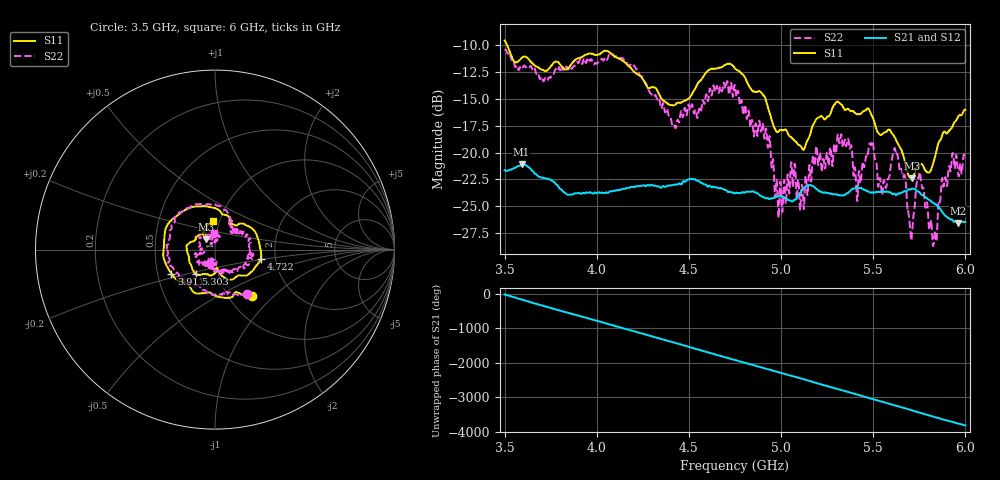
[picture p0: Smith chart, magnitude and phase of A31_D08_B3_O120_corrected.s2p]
! Created with skrf 1.9.0 (http://scikit-rf.org).
# Hz S RI R 50.0
!freq ReS11 ImS11 ReS21 ImS21 ReS12 ImS12 ReS22 ImS22
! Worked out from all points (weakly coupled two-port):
!   1601 points, 3.5 GHz to 6 GHz, reference 50 ohm
!   highest |S21| = -21.10 dB at 3.592 GHz (marker M1); lowest = -26.6 dB at 5.959 GHz (marker M2)
!   lowest |S11| = -22.4 dB at 5.709 GHz (marker M3), VSWR 1.16, Z = 45 + j5.23 ohm
!   |S11| at or under -10 dB: 3.514 GHz to end of sweep
!   |S22| runs from -28.7 to -10.4 dB; largest |S21 - S12| = 0.001
!   S11 on the Smith chart (normalised r, x): 3.5 GHz: 1.28, -0.75; 3.911 GHz: 0.59, -0.17; 4.722 GHz: 1.67, -0.18; 5.303 GHz: 0.78, -0.22; 6 GHz: 0.94, +0.30
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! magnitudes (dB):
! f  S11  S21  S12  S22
! 3.5 GHz  -9.5  -21.6  -21.6  -10.4
! 3.592 GHz  -11.2  -21.1  -21.1  -12.1
! 3.911 GHz  -11.1  -23.8  -23.8  -11.3
! 3.917 GHz  -11.1  -23.8  -23.8  -11.6
! 4.334 GHz  -14.4  -23.1  -23.1  -14.9
! 4.42 GHz  -15.6  -23.0  -23.0  -17.4
! 4.722 GHz  -11.7  -23.6  -23.6  -14.2
! 4.75 GHz  -12.1  -23.8  -23.7  -13.8
! 4.928 GHz  -15.7  -24.3  -24.2  -19.5
! 4.995 GHz  -17.9  -24.1  -24.0  -22.7
! 5.167 GHz  -17.7  -23.1  -23.1  -21.7
! 5.303 GHz  -15.2  -23.9  -23.9  -19.0
! 5.419 GHz  -16.4  -23.3  -23.4  -22.7
! 5.487 GHz  -16.4  -23.7  -23.7  -19.3
! 5.584 GHz  -17.8  -23.7  -23.7  -22.4
! 5.625 GHz  -18.8  -24.0  -23.9  -20.1
! 5.709 GHz  -22.4  -23.4  -23.3  -27.7
! 5.75 GHz  -21.2  -23.7  -23.7  -22.0
! 5.833 GHz  -20.6  -24.8  -24.7  -27.7
! 5.88 GHz  -18.1  -25.7  -25.6  -22.9
! 5.959 GHz  -16.7  -26.6  -26.5  -21.8
! 6 GHz  -16.0  -26.5  -26.5  -20.4
